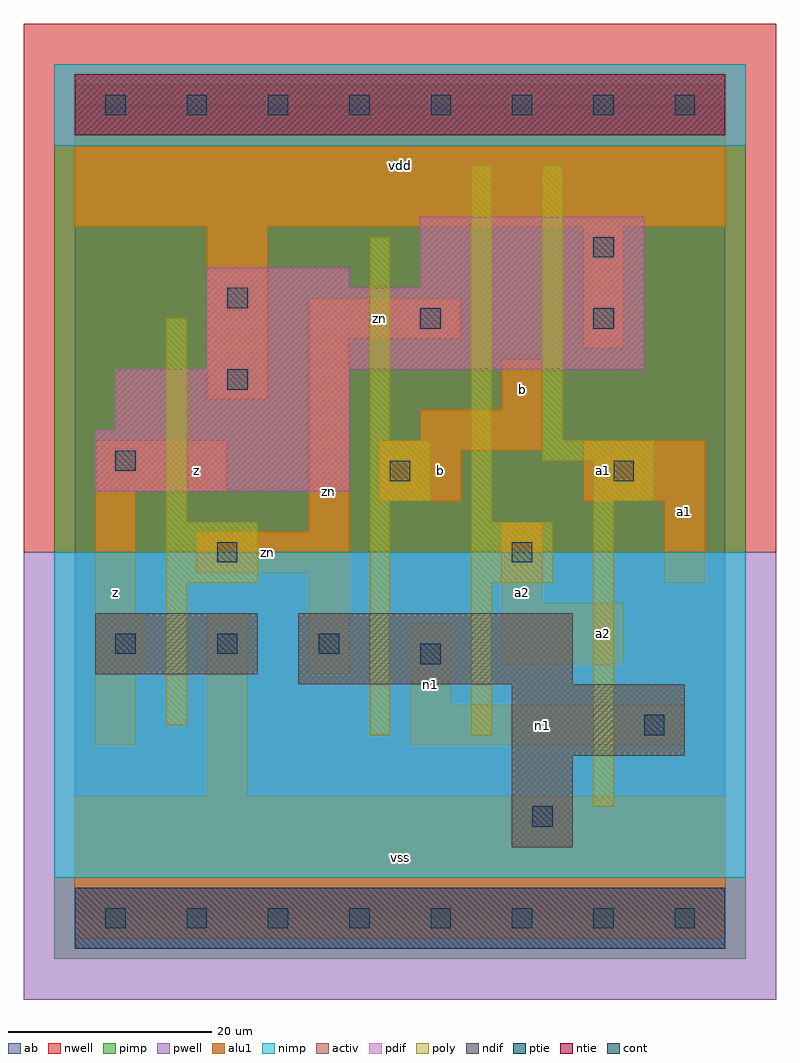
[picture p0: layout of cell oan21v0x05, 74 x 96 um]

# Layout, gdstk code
import gdstk
lib = gdstk.Library(unit=1e-6, precision=1e-09)
def R(c, l, rs):  # rectangles x0, y0, x1, y1
    for r in rs: c.add(gdstk.rectangle(r[:2], r[2:], *l))
def A(c, l, x, y, w, h, nx, ny, dx, dy):  # array of equal rectangles
    R(c, l, [(x+i*dx, y+j*dy, x+i*dx+w, y+j*dy+h) for i in range(nx) for j in range(ny)])
ndif = (3, 0)
pdif = (4, 0)
ntie = (5, 0)
ptie = (6, 0)
cont = (25, 0)
pwell = (41, 0)
nwell = (42, 0)
activ = (43, 0)
pimp = (44, 0)
nimp = (45, 0)
poly = (46, 0)
alu1 = (49, 0)
ab = (63, 0)

oan21v0x05 = lib.new_cell('oan21v0x05')
R(oan21v0x05, ndif, [(43,7,49,16), (43,16,60,23), (22,23,49,30), (2,24,18,30)])
R(oan21v0x05, pdif, [(2,42,27,48), (4,48,27,54), (13,54,56,62), (13,62,27,64), (34,62,56,69)])
R(oan21v0x05, ntie, [(0,77,64,83)])
R(oan21v0x05, ptie, [(0,-3,64,3)])
A(oan21v0x05, cont, 3, -1, 2, 2, 8, 2, 8, 80)
A(oan21v0x05, cont, 4, 26, 2, 2, 3, 1, 10, 0)
R(oan21v0x05, cont, [(45,9,47,11), (56,18,58,20), (34,25,36,27), (14,35,16,37), (43,35,45,37), (31,43,33,45), (53,43,55,45), (4,44,6,46), (15,52,17,54), (34,58,36,60), (51,58,53,60), (15,60,17,62), (51,65,53,67)])
R(oan21v0x05, pwell, [(-5,-8,69,36)])
R(oan21v0x05, nwell, [(-5,36,69,88)])
R(oan21v0x05, activ, [(0,-3,64,3), (43,7,49,16), (43,16,60,23), (22,23,49,30), (2,24,18,30), (2,42,27,48), (4,48,27,54), (13,54,56,62), (13,62,27,64), (34,62,56,69), (0,77,64,83)])
R(oan21v0x05, pimp, [(-2,-4,66,4), (-2,36,66,76)])
R(oan21v0x05, nimp, [(-2,4,66,36), (-2,76,66,84)])
R(oan21v0x05, poly, [(51,11,53,41), (29,18,31,41), (39,18,41,33), (9,19,11,33), (9,33,18,39), (39,33,47,39), (9,39,11,59), (39,39,41,74), (29,41,35,47), (51,41,57,45), (46,45,57,47), (29,47,31,67), (46,47,48,74)])
R(oan21v0x05, alu1, [(0,-2,64,12), (13,12,17,30), (2,17,6,24), (33,17,60,21), (33,21,37,29), (2,24,7,30), (23,24,27,34), (42,25,54,31), (2,30,6,42), (42,31,46,39), (58,33,62,41), (12,34,27,38), (23,38,27,57), (30,41,38,46), (50,41,62,47), (2,42,15,47), (30,46,46,47), (34,47,46,50), (42,50,46,55), (13,51,19,68), (50,56,54,68), (23,57,38,61), (0,68,64,82)])
R(oan21v0x05, ab, [(0,0,64,80)])
oan21v0x05.add(gdstk.Label('zn', (19,36), layer=49, texttype=0))
oan21v0x05.add(gdstk.Label('zn', (25,42), layer=49, texttype=0))
oan21v0x05.add(gdstk.Label('n1', (35,23), layer=49, texttype=0))
oan21v0x05.add(gdstk.Label('zn', (30,59), layer=49, texttype=0))
oan21v0x05.add(gdstk.Label('n1', (46,19), layer=49, texttype=0))
oan21v0x05.add(gdstk.Label('z', (4,32), layer=49, texttype=0))
oan21v0x05.add(gdstk.Label('z', (12,44), layer=49, texttype=0))
oan21v0x05.add(gdstk.Label('vss', (32,6), layer=49, texttype=0))
oan21v0x05.add(gdstk.Label('a2', (44,32), layer=49, texttype=0))
oan21v0x05.add(gdstk.Label('b', (36,44), layer=49, texttype=0))
oan21v0x05.add(gdstk.Label('b', (44,52), layer=49, texttype=0))
oan21v0x05.add(gdstk.Label('vdd', (32,74), layer=49, texttype=0))
oan21v0x05.add(gdstk.Label('a2', (52,28), layer=49, texttype=0))
oan21v0x05.add(gdstk.Label('a1', (60,40), layer=49, texttype=0))
oan21v0x05.add(gdstk.Label('a1', (52,44), layer=49, texttype=0))

lib.write_gds('oan21v0x05.gds')
